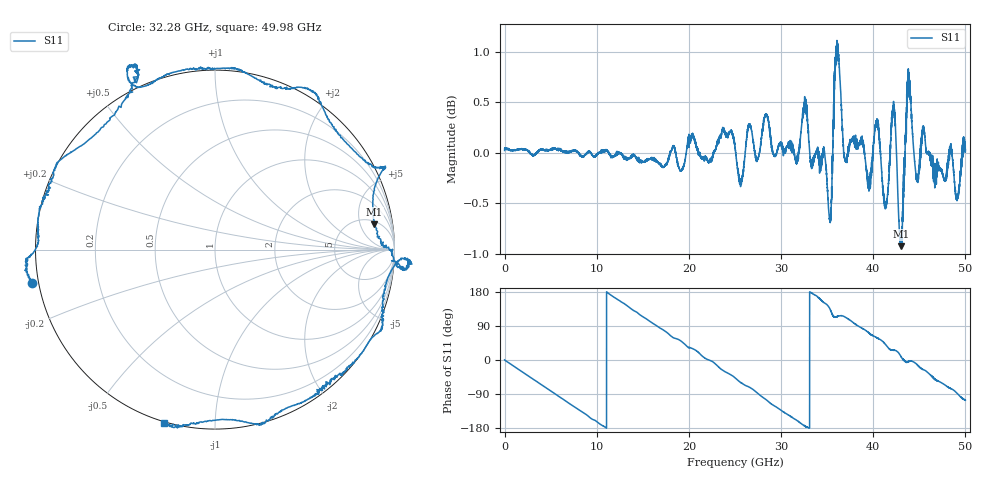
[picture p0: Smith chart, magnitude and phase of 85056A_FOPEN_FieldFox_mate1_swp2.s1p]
!Created with skrf (http://scikit-rf.org).
# Hz S RI R 50.0
!freq ReS11 ImS11
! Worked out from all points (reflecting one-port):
!   10001 points, 300 kHz to 50 GHz, reference 50 ohm
!   lowest |S11| = -0.9 dB at 43.02 GHz (marker M1), VSWR 18.75, Z = 299 + j435 ohm
!   phase of S11 starts at 0 deg and turns -826 deg over the sweep
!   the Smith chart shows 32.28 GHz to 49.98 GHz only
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300000  1.003 0.00286
1.75029e9  0.8803 -0.4824
3.660278e9  0.5042 -0.8654
6.250262e9  -0.2067 -0.9804
9.420243e9  -0.9049 -0.4227
1.250022e10  -0.9129 0.4074
1.574521e10  -0.2115 0.9701
1.875019e10  0.5627 0.8127
1.999018e10  0.8664 0.5387
2.176517e10  0.9919 0.0814
2.318016e10  0.9664 -0.3086
2.500015e10  0.6867 -0.7342
2.652014e10  0.332 -0.9774
2.825513e10  -0.2262 -1.019
3.125011e10  -0.8895 -0.4682
3.25901e10  -1.048 -0.1085
3.39651e10  -0.9736 0.2347
3.485509e10  -0.8397 0.5147
3.588508e10  -0.428 1.019
3.750008e10  -0.2578 0.9767
4.044506e10  0.5453 0.8737
4.205005e10  0.9346 0.4592
4.301504e10  0.8878 0.1399
4.375004e10  1.067 -0.0927
4.439003e10  0.9991 -0.0908
4.561503e10  0.9008 -0.4676
4.694002e10  0.5754 -0.8015
5e10  -0.2818 -0.9633
